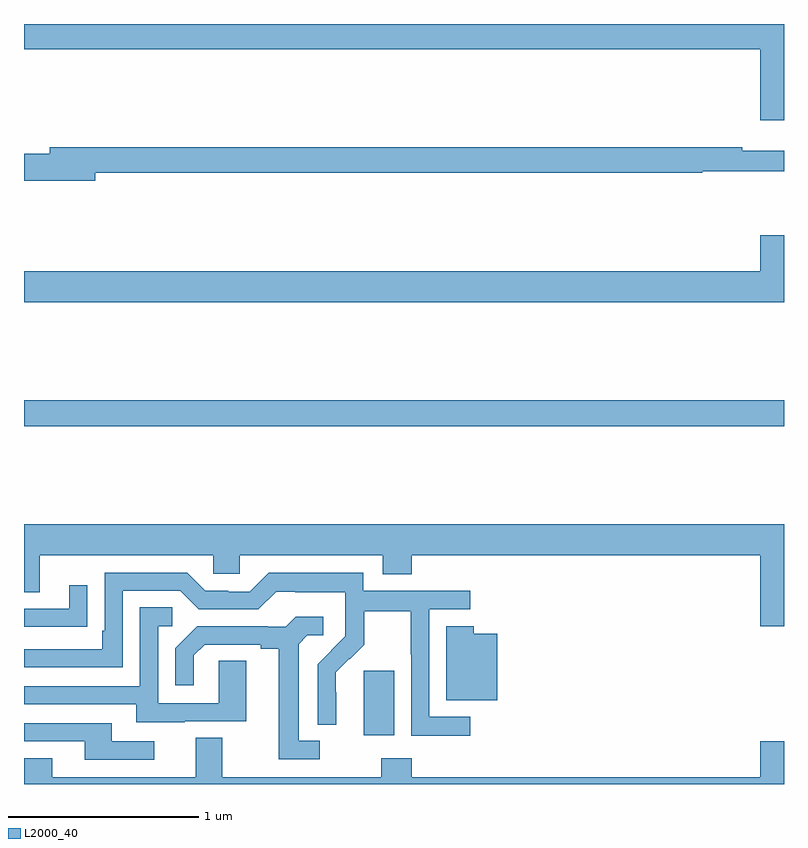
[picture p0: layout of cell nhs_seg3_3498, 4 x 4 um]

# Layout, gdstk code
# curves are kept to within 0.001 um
import gdstk
lib = gdstk.Library(unit=1e-6, precision=1e-09)
def R(c, l, rs):  # rectangles x0, y0, x1, y1
    for r in rs: c.add(gdstk.rectangle(r[:2], r[2:], *l))
def P(c, l, *ps):  # polygons
    for p in ps: c.add(gdstk.Polygon(p, *l))
L2000_40 = (2000, 40)

nhs_seg3_3498 = lib.new_cell('nhs_seg3_3498')
R(nhs_seg3_3498, L2000_40, [(294.788,678.657,294.949,678.997), (293,680.284,297,680.42)])
P(nhs_seg3_3498, L2000_40, [(297,682.4),(293,682.4),(293,682.268),(296.876,682.268),(296.876,681.894),(297,681.894)],
  [(293.374,681.616),(296.57,681.616),(296.57,681.624),(297,681.624),(297,681.733),(296.78,681.733),(296.78,681.752),(293.135,681.752),(293.135,681.716),(293,681.716),(293,681.574),(293.374,681.574)],
  [(297,681.289),(296.876,681.289),(296.876,681.1),(293,681.1),(293,680.936),(297,680.936)],
  [(293,679.41),(293.083,679.41),(293.083,679.604),(293.997,679.604),(293.997,679.506),(294.135,679.506),(294.135,679.604),(294.887,679.604),(294.887,679.505),(295.04,679.505),(295.04,679.604),(296.876,679.604),(296.876,679.23),(297,679.23),(297,679.768),(293,679.768)],
  [(295.348,678.753),(295.134,678.753),(295.134,679.32),(295.348,679.32),(295.348,679.416),(294.786,679.416),(294.786,679.513),(294.289,679.513),(294.189,679.413),(294.074,679.413),(294.074,679.416),(293.955,679.416),(293.859,679.512),(293.424,679.512),(293.424,679.207),(293.411,679.207),(293.411,679.11),(293,679.11),(293,679.014),(293.52,679.014),(293.52,679.416),(293.823,679.416),(293.919,679.32),(294.234,679.32),(294.327,679.413),(294.427,679.413),(294.427,679.409),(294.69,679.409),(294.69,679.275),(294.692,679.275),(294.692,679.178),(294.546,679.03),(294.546,678.712),(294.643,678.712),(294.643,678.884),(294.641,678.884),(294.641,678.989),(294.711,679.059),(294.714,679.056),(294.791,679.133),(294.791,679.308),(295.036,679.308),(295.036,679.084),(295.038,679.084),(295.038,678.655),(295.348,678.655)],
  [(293.231,679.228),(293.333,679.228),(293.333,679.447),(293.237,679.447),(293.237,679.323),(293,679.323),(293,679.227),(293.231,679.227)],
  [(293.845,678.729),(294.169,678.729),(294.169,679.049),(294.024,679.049),(294.024,678.825),(293.706,678.825),(293.706,679.23),(293.779,679.23),(293.779,679.331),(293.61,679.331),(293.61,678.915),(293,678.915),(293,678.819),(293.591,678.819),(293.591,678.725),(293.845,678.725)],
  [(294.556,678.627),(294.445,678.627),(294.445,679.135),(294.492,679.182),(294.574,679.182),(294.574,679.279),(294.43,679.279),(294.378,679.227),(294.284,679.227),(294.284,679.23),(293.912,679.23),(293.796,679.114),(293.796,678.921),(293.893,678.921),(293.893,679.077),(293.95,679.134),(294.245,679.134),(294.245,679.112),(294.341,679.112),(294.341,678.531),(294.556,678.531)],
  [(295.492,679.192),(295.367,679.192),(295.367,679.231),(295.223,679.231),(295.223,678.842),(295.492,678.842)],
  [(293.686,678.624),(293.461,678.624),(293.461,678.72),(293,678.72),(293,678.624),(293.321,678.624),(293.321,678.528),(293.686,678.528)],
  [(297,678.625),(296.876,678.625),(296.876,678.436),(295.04,678.436),(295.04,678.535),(294.88,678.535),(294.88,678.436),(294.043,678.436),(294.043,678.644),(293.903,678.644),(293.903,678.436),(293.149,678.436),(293.149,678.535),(293.002,678.535),(293.002,678.436),(293,678.436),(293,678.4),(297,678.4)])

lib.write_gds('nhs_seg3_3498.gds')
